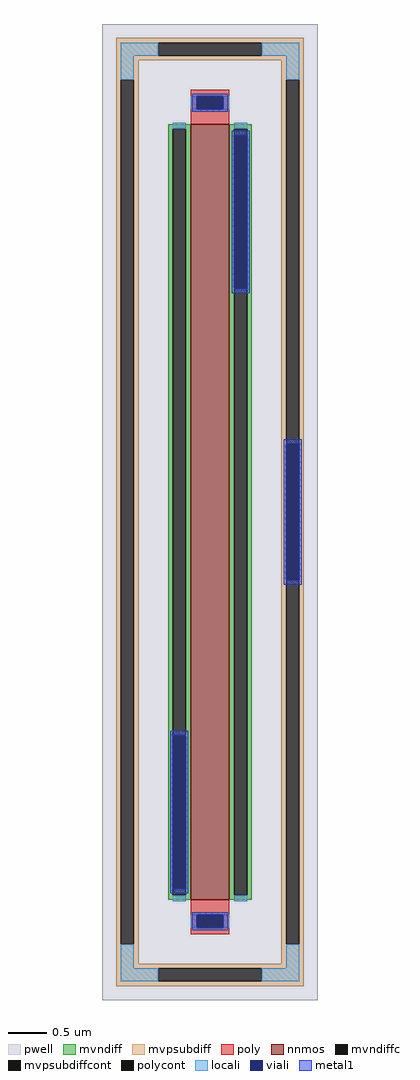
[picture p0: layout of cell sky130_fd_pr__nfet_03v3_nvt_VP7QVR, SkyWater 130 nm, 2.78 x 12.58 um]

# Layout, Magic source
magic
tech sky130A
magscale 1 2
<< pwell >>
rect -278 -1258 278 1258
<< nnmos >>
rect -50 -1000 50 1000
<< mvndiff >>
rect -108 988 -50 1000
rect -108 -988 -96 988
rect -62 -988 -50 988
rect -108 -1000 -50 -988
rect 50 988 108 1000
rect 50 -988 62 988
rect 96 -988 108 988
rect 50 -1000 108 -988
<< mvndiffc >>
rect -96 -988 -62 988
rect 62 -988 96 988
<< mvpsubdiff >>
rect -242 1210 242 1222
rect -242 1176 -134 1210
rect 134 1176 242 1210
rect -242 1164 242 1176
rect -242 1114 -184 1164
rect -242 -1114 -230 1114
rect -196 -1114 -184 1114
rect 184 1114 242 1164
rect -242 -1164 -184 -1114
rect 184 -1114 196 1114
rect 230 -1114 242 1114
rect 184 -1164 242 -1114
rect -242 -1176 242 -1164
rect -242 -1210 -134 -1176
rect 134 -1210 242 -1176
rect -242 -1222 242 -1210
<< mvpsubdiffcont >>
rect -134 1176 134 1210
rect -230 -1114 -196 1114
rect 196 -1114 230 1114
rect -134 -1210 134 -1176
<< poly >>
rect -50 1072 50 1088
rect -50 1038 -34 1072
rect 34 1038 50 1072
rect -50 1000 50 1038
rect -50 -1038 50 -1000
rect -50 -1072 -34 -1038
rect 34 -1072 50 -1038
rect -50 -1088 50 -1072
<< polycont >>
rect -34 1038 34 1072
rect -34 -1072 34 -1038
<< locali >>
rect -230 1176 -134 1210
rect 134 1176 230 1210
rect -230 1114 -196 1176
rect 196 1114 230 1176
rect -50 1038 -34 1072
rect 34 1038 50 1072
rect -96 988 -62 1004
rect -96 -1004 -62 -988
rect 62 988 96 1004
rect 62 -1004 96 -988
rect -50 -1072 -34 -1038
rect 34 -1072 50 -1038
rect -230 -1176 -196 -1114
rect 196 -1176 230 -1114
rect -230 -1210 -134 -1176
rect 134 -1210 230 -1176
<< viali >>
rect -34 1038 34 1072
rect -96 -971 -62 -576
rect 62 576 96 971
rect 196 -176 230 176
rect -34 -1072 34 -1038
<< metal1 >>
rect -46 1072 46 1078
rect -46 1038 -34 1072
rect 34 1038 46 1072
rect -46 1032 46 1038
rect 56 971 102 983
rect 56 576 62 971
rect 96 576 102 971
rect 56 564 102 576
rect 190 176 236 188
rect 190 -176 196 176
rect 230 -176 236 176
rect 190 -188 236 -176
rect -102 -576 -56 -564
rect -102 -971 -96 -576
rect -62 -971 -56 -576
rect -102 -983 -56 -971
rect -46 -1038 46 -1032
rect -46 -1072 -34 -1038
rect 34 -1072 46 -1038
rect -46 -1078 46 -1072
<< properties >>
string FIXED_BBOX -213 -1193 213 1193
string gencell sky130_fd_pr__nfet_03v3_nvt
string library sky130
string parameters w 10.0 l 0.5 m 1 nf 1 diffcov 100 polycov 100 guard 1 glc 1 grc 1 gtc 1 gbc 1 tbcov 100 rlcov 100 topc 1 botc 1 poverlap 0 doverlap 1 lmin 0.50 wmin 0.42 compatible {sky130_fd_pr__nfet_01v8 sky130_fd_pr__nfet_01v8_lvt  sky130_fd_bs_flash__special_sonosfet_star  sky130_fd_pr__nfet_g5v0d10v5 sky130_fd_pr__nfet_05v0_nvt  sky130_fd_pr__nfet_03v3_nvt} full_metal 1 viasrc -20 viadrn +20 viagate 100 viagb 0 viagr 15 viagl 0 viagt 0
<< end >>
